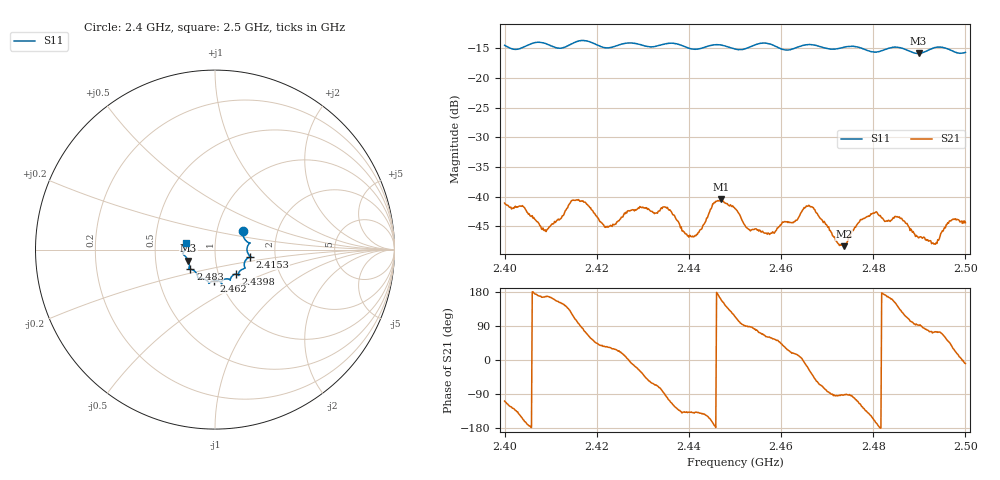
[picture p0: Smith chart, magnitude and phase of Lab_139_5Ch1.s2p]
# Hz S RI R 50
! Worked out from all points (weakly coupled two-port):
!   601 points, 2.4 GHz to 2.5 GHz, reference 50 ohm
!   highest |S21| = -40.44 dB at 2.447 GHz (marker M1); lowest = -48.4 dB at 2.4737 GHz (marker M2)
!   lowest |S11| = -15.9 dB at 2.4898 GHz (marker M3), VSWR 1.38, Z = 36.8 - j4.65 ohm
!   |S11| at or under -10 dB: start of sweep to end of sweep
!   S12 and S22 are empty: the file has one direction only
!   S11 on the Smith chart (normalised r, x): 2.4 GHz: 1.33, +0.29; 2.4153 GHz: 1.48, -0.12; 2.4398 GHz: 1.21, -0.34; 2.462 GHz: 0.93, -0.33; 2.483 GHz: 0.74, -0.17; 2.5 GHz: 0.72, +0.06
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2.4e9  0.1552 0.1064  -0.00278 -0.00835  0 0  0 0
2.409e9  0.1912 0.0337  -0.00494 0.00114  0 0  0 0
2.415333e9  0.1965 -0.0386  -0.00277 0.00885  0 0  0 0
2.416667e9  0.2023 -0.0427  0.000615 0.00919  0 0  0 0
2.422167e9  0.1669 -0.066  0.00451 0.0032  0 0  0 0
2.427167e9  0.1683 -0.1029  0.00752 -0.000511  0 0  0 0
2.433333e9  0.1312 -0.1336  0.00258 -0.00705  0 0  0 0
2.4355e9  0.1317 -0.1444  -0.00184 -0.00759  0 0  0 0
2.439833e9  0.1157 -0.1363  -0.00347 -0.00313  0 0  0 0
2.447e9  0.0842 -0.1695  -0.00885 0.00348  0 0  0 0
2.45e9  0.065 -0.1628  -0.0033 0.0072  0 0  0 0
2.453167e9  0.037 -0.1781  0.000169 0.00526  0 0  0 0
2.462e9  -0.0052 -0.1729  0.00563 0.00221  0 0  0 0
2.466667e9  -0.0342 -0.1875  0.00656 -0.00494  0 0  0 0
2.473667e9  -0.0855 -0.1603  -0.000145 -0.00381  0 0  0 0
2.477667e9  -0.0974 -0.1475  -0.00356 -0.00535  0 0  0 0
2.483e9  -0.1375 -0.1095  -0.00611 0.0014  0 0  0 0
2.483333e9  -0.1401 -0.1093  -0.00612 0.0016  0 0  0 0
2.489833e9  -0.1486 -0.0615  -0.00015 0.00447  0 0  0 0
2.493333e9  -0.1783 -0.0257  0.00108 0.00384  0 0  0 0
2.496667e9  -0.1722 -0.0103  0.00446 0.00438  0 0  0 0
2.5e9  -0.1595 0.0391  0.00594 -0.000975  0 0  0 0
